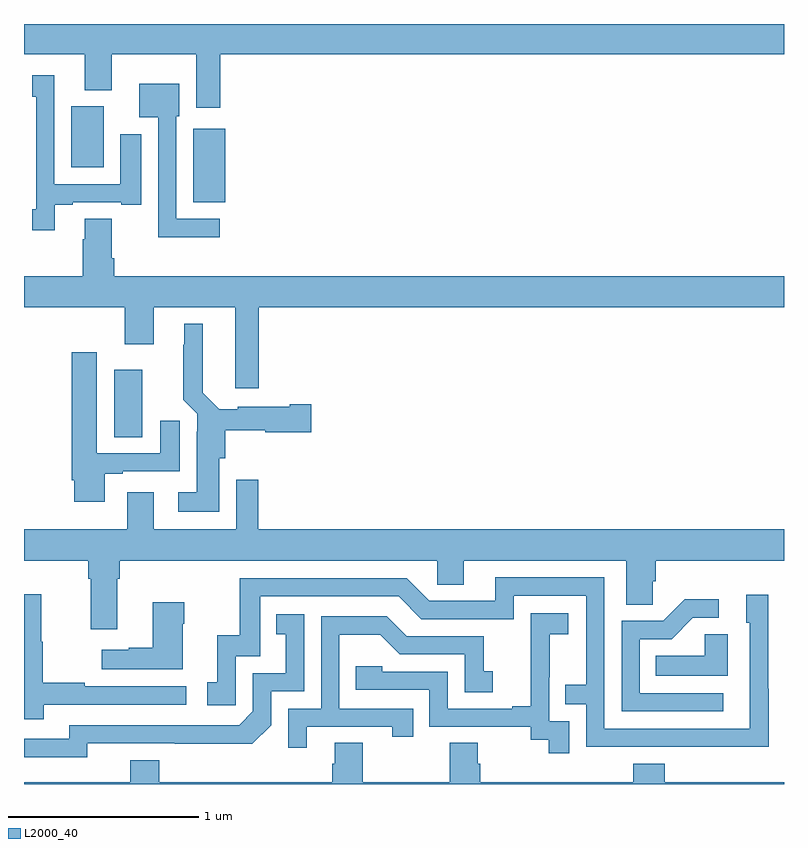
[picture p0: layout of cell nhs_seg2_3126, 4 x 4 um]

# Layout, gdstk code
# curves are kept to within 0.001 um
import gdstk
lib = gdstk.Library(unit=1e-6, precision=1e-09)
def R(c, l, rs):  # rectangles x0, y0, x1, y1
    for r in rs: c.add(gdstk.rectangle(r[:2], r[2:], *l))
def P(c, l, *ps):  # polygons
    for p in ps: c.add(gdstk.Polygon(p, *l))
L2000_40 = (2000, 40)

nhs_seg2_3126 = lib.new_cell('nhs_seg2_3126')
R(nhs_seg2_3126, L2000_40, [(275.474,641.626,275.623,641.98), (275.891,642.863,276.058,643.249), (275.249,643.046,275.419,643.366)])
P(nhs_seg2_3126, L2000_40, [(276.032,643.64),(279,643.64),(279,643.8),(275,643.8),(275,643.64),(275.321,643.64),(275.321,643.451),(275.461,643.451),(275.461,643.64),(275.906,643.64),(275.906,643.359),(276.032,643.359)],
  [(275.161,642.849),(275.257,642.849),(275.257,642.861),(275.513,642.861),(275.513,642.849),(275.617,642.849),(275.617,643.219),(275.507,643.219),(275.507,642.957),(275.16,642.957),(275.16,643.531),(275.044,643.531),(275.044,643.418),(275.064,643.418),(275.064,642.826),(275.044,642.826),(275.044,642.714),(275.161,642.714)],
  [(276.031,642.774),(275.802,642.774),(275.802,643.314),(275.818,643.314),(275.818,643.486),(275.606,643.486),(275.606,643.31),(275.706,643.31),(275.706,642.677),(276.031,642.677)],
  [(276.236,642.308),(279,642.308),(279,642.472),(275.474,642.472),(275.474,642.568),(275.461,642.568),(275.461,642.776),(275.321,642.776),(275.321,642.668),(275.309,642.668),(275.309,642.472),(275,642.472),(275,642.308),(275.531,642.308),(275.531,642.114),(275.683,642.114),(275.683,642.308),(276.113,642.308),(276.113,641.883),(276.236,641.883)],
  [(276.028,641.514),(276.059,641.514),(276.059,641.663),(276.27,641.663),(276.27,641.651),(276.511,641.651),(276.511,641.798),(276.398,641.798),(276.398,641.785),(276.126,641.785),(276.126,641.773),(276.027,641.773),(275.941,641.86),(275.941,642.223),(275.843,642.223),(275.843,642.113),(275.839,642.113),(275.839,641.822),(275.913,641.748),(275.913,641.654),(275.909,641.654),(275.909,641.335),(275.811,641.335),(275.811,641.234),(276.028,641.234)],
  [(275.425,641.433),(275.521,641.433),(275.521,641.445),(275.821,641.445),(275.821,641.713),(275.717,641.713),(275.717,641.541),(275.383,641.541),(275.383,642.073),(275.252,642.073),(275.252,641.398),(275.264,641.398),(275.264,641.286),(275.425,641.286)],
  [(275.491,640.88),(275.504,640.88),(275.504,640.976),(277.176,640.976),(277.176,640.849),(277.315,640.849),(277.315,640.976),(278.171,640.976),(278.171,640.744),(278.31,640.744),(278.31,640.867),(278.324,640.867),(278.324,640.976),(279,640.976),(279,641.14),(276.233,641.14),(276.233,641.401),(276.117,641.401),(276.117,641.14),(275.683,641.14),(275.683,641.335),(275.543,641.335),(275.543,641.14),(275,641.14),(275,640.976),(275.339,640.976),(275.339,640.88),(275.351,640.88),(275.351,640.614),(275.491,640.614)],
  [(278.919,640.301),(278.916,640.301),(278.916,640.795),(278.801,640.795),(278.801,640.65),(278.82,640.65),(278.82,640.092),(278.055,640.092),(278.055,640.887),(277.481,640.887),(277.481,640.764),(277.134,640.764),(277.014,640.884),(276.135,640.884),(276.135,640.582),(276.017,640.582),(276.017,640.335),(275.964,640.335),(275.964,640.215),(276.114,640.215),(276.114,640.473),(276.243,640.473),(276.243,640.788),(276.972,640.788),(277.092,640.668),(277.578,640.668),(277.578,640.791),(277.959,640.791),(277.959,640.322),(277.849,640.322),(277.849,640.221),(277.959,640.221),(277.959,639.996),(278.919,639.995)],
  [(275.105,640.218),(275.854,640.218),(275.854,640.314),(275.321,640.314),(275.321,640.334),(275.098,640.334),(275.098,640.548),(275.09,640.548),(275.09,640.798),(275,640.798),(275,640.14),(275.105,640.14)],
  [(278.68,640.278),(278.241,640.278),(278.241,640.563),(278.41,640.563),(278.521,640.674),(278.656,640.674),(278.656,640.772),(278.477,640.772),(278.364,640.659),(278.145,640.659),(278.145,640.182),(278.68,640.182)],
  [(275.836,640.643),(275.844,640.643),(275.844,640.756),(275.678,640.756),(275.678,640.517),(275.552,640.517),(275.552,640.507),(275.409,640.507),(275.409,640.403),(275.836,640.403)],
  [(277.869,640.131),(277.764,640.131),(277.764,640.361),(277.766,640.361),(277.766,640.589),(277.864,640.589),(277.864,640.699),(277.666,640.699),(277.666,640.493),(277.667,640.493),(277.667,640.21),(277.571,640.21),(277.571,640.197),(277.23,640.197),(277.23,640.392),(276.885,640.392),(276.885,640.419),(276.745,640.419),(276.745,640.296),(277.134,640.296),(277.134,640.101),(277.668,640.101),(277.668,640.033),(277.761,640.033),(277.761,639.963),(277.869,639.963)],
  [(275.334,640.014),(276.202,640.013),(276.3,640.11),(276.3,640.287),(276.474,640.287),(276.474,640.693),(276.328,640.693),(276.328,640.587),(276.377,640.587),(276.377,640.383),(276.204,640.383),(276.204,640.182),(276.132,640.11),(275.238,640.11),(275.238,640.038),(275,640.038),(275,639.941),(275.334,639.941)],
  [(276.487,640.101),(276.938,640.101),(276.938,640.05),(277.049,640.05),(277.049,640.197),(276.66,640.197),(276.66,640.586),(276.874,640.586),(276.978,640.482),(277.32,640.482),(277.32,640.284),(277.468,640.284),(277.468,640.393),(277.419,640.393),(277.419,640.578),(277.015,640.578),(276.91,640.683),(276.564,640.683),(276.564,640.197),(276.39,640.197),(276.39,639.99),(276.487,639.99)],
  [(278.704,640.589),(278.583,640.589),(278.583,640.474),(278.326,640.474),(278.326,640.37),(278.704,640.37)],
  [(279,639.808),(278.372,639.808),(278.372,639.907),(278.207,639.907),(278.207,639.808),(277.4,639.808),(277.4,639.906),(277.387,639.906),(277.387,640.016),(277.24,640.016),(277.24,639.808),(276.783,639.808),(276.783,640.016),(276.635,640.016),(276.635,639.906),(276.623,639.906),(276.623,639.808),(275.711,639.808),(275.711,639.925),(275.558,639.925),(275.558,639.808),(275,639.808),(275,639.8),(279,639.8)])

lib.write_gds('nhs_seg2_3126.gds')
